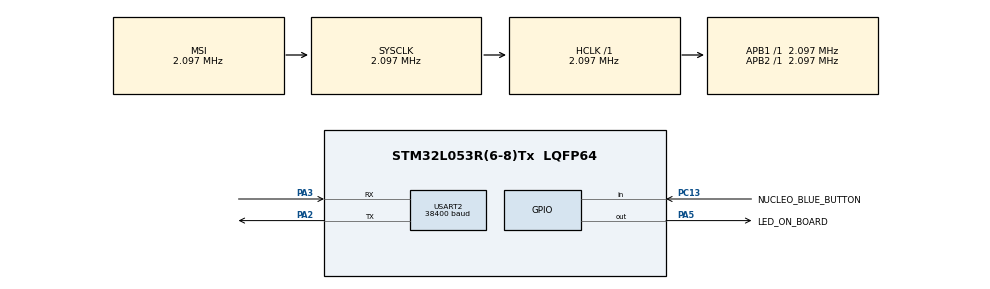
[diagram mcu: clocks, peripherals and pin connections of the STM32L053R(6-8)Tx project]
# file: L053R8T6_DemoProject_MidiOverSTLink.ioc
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Dma.Request0=USART2_RX
Dma.Request1=USART2_TX
Dma.USART2_RX.0.Direction=DMA_PERIPH_TO_MEMORY
Dma.USART2_RX.0.Instance=DMA1_Channel5
Dma.USART2_RX.0.MemDataAlignment=DMA_MDATAALIGN_BYTE
Dma.USART2_RX.0.MemInc=DMA_MINC_ENABLE
Dma.USART2_RX.0.Mode=DMA_NORMAL
Dma.USART2_RX.0.PeriphDataAlignment=DMA_PDATAALIGN_BYTE
Dma.USART2_RX.0.PeriphInc=DMA_PINC_DISABLE
Dma.USART2_RX.0.Priority=DMA_PRIORITY_LOW
Dma.USART2_TX.1.Direction=DMA_MEMORY_TO_PERIPH
Dma.USART2_TX.1.Instance=DMA1_Channel4
Dma.USART2_TX.1.MemDataAlignment=DMA_MDATAALIGN_BYTE
Dma.USART2_TX.1.MemInc=DMA_MINC_ENABLE
Dma.USART2_TX.1.Mode=DMA_NORMAL
Dma.USART2_TX.1.PeriphDataAlignment=DMA_PDATAALIGN_BYTE
Dma.USART2_TX.1.PeriphInc=DMA_PINC_DISABLE
Dma.USART2_TX.1.Priority=DMA_PRIORITY_LOW
Mcu.Family=STM32L0
Mcu.Name=STM32L053R(6-8)Tx
Mcu.Package=LQFP64
NVIC.DMA1_Channel4_5_6_7_IRQn=true\:0\:0\:false\:false\:true\:false\:true\:true
NVIC.USART2_IRQn=true\:0\:0\:false\:false\:true\:true\:true\:true
PA13.Mode=Serial_Wire
PA13.Signal=SYS_SWDIO
PA14.Mode=Serial_Wire
PA14.Signal=SYS_SWCLK
PA2.Mode=Asynchronous
PA2.Signal=USART2_TX
PA3.Mode=Asynchronous
PA3.Signal=USART2_RX
PA5.GPIO_Label=LED_ON_BOARD
PA5.Signal=GPIO_Output
PC13.GPIO_Label=NUCLEO_BLUE_BUTTON
PC13.Signal=GPIO_Input
PH0-OSC_IN.Mode=HSE-External-Oscillator
PH0-OSC_IN.Signal=RCC_OSC_IN
PH1-OSC_OUT.Mode=HSE-External-Oscillator
PH1-OSC_OUT.Signal=RCC_OSC_OUT
ProjectManager.HeapSize=0x200
ProjectManager.StackSize=0x400
ProjectManager.TargetToolchain=STM32CubeIDE
RCC.AHBFreq_Value=2097000
RCC.APB1Freq_Value=2097000
RCC.APB1TimFreq_Value=2097000
RCC.APB2Freq_Value=2097000
RCC.APB2TimFreq_Value=2097000
RCC.HSE_VALUE=8000000
RCC.HSI16_VALUE=16000000
RCC.HSI48_VALUE=48000000
RCC.HSI_VALUE=16000000
RCC.LSE_VALUE=32768
RCC.MSI_VALUE=2097000
RCC.SYSCLKFreq_VALUE=2097000
RCC.VCOOutputFreq_Value=48000000
USART2.BaudRate=38400
USART2.VirtualMode-Asynchronous=VM_ASYNC
board=custom

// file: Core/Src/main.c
/* USER CODE BEGIN Header */
/**
  ******************************************************************************
  * @file           : main.c
  * @brief          : Main program body
  ******************************************************************************
  * @attention
  *
  * Copyright (c) 2024 STMicroelectronics.
  * All rights reserved.
  *
  * This software is licensed under terms that can be found in the LICENSE file
  * in the root directory of this software component.
  * If no LICENSE file comes with this software, it is provided AS-IS.
  *
  ******************************************************************************
  */
/* USER CODE END Header */
#include "main.h"
#include "dma.h"
#include "usart.h"
#include "gpio.h"

/* USER CODE BEGIN Includes */
#include "MIDI_UART.h"
#include <string.h>
/* USER CODE END Includes */

/* USER CODE BEGIN PV */

/* structures to handle HUI-Commands */
typedef struct
{
  uint8_t Zone;
  uint8_t PortOn;
  uint8_t PortOff;
}HUI_Rx_Td;

typedef struct
{
  uint8_t Zone;
  uint8_t Port;
  bool ToggleOn;
  bool ToggleOff;
}HUI_solo_td;

/* Instances of the previous declared structures */
HUI_Rx_Td HUIRx = {
    .Zone = 0xFF,
    .PortOn = 0xFF,
    .PortOff = 0xFF,
};

HUI_solo_td SoloCh1 = {
    .Zone = 0x00,
    .Port = 0x03,
    .ToggleOn = false,
    .ToggleOff = false,
};

/* used MIDI instance */
MIDI_structTd MIDIPort1;

/* used to read nucleo user button */
GPIO_PinState PrevButtonState = GPIO_PIN_SET;

/* USER CODE END PV */

void SystemClock_Config(void);
/* USER CODE BEGIN PFP */
void HUI_send_SwitchCommandOn(MIDI_structTd* MIDIPort, uint8_t Zone, uint8_t Port);
void HUI_send_SwitchCommandOff(MIDI_structTd* MIDIPort, uint8_t Zone, uint8_t Port);
/* USER CODE END PFP */

int main(void)
{

  /* MCU Configuration--------------------------------------------------------*/

  /* Reset of all peripherals, Initializes the Flash interface and the Systick. */
  HAL_Init();

  /* Configure the system clock */
  SystemClock_Config();

  /* Initialize all configured peripherals */
  MX_GPIO_Init();
  MX_DMA_Init();
  MX_USART2_UART_Init();
  /* USER CODE BEGIN 2 */
  MIDI_init_UART(&MIDIPort1, &huart2);
  MIDI_init_DMARxHandle(&MIDIPort1, &hdma_usart2_rx);
  MIDI_start_Transmission(&MIDIPort1);
  /* USER CODE END 2 */

  /* Infinite loop */
  /* USER CODE BEGIN WHILE */
  while (1)
  {
    MIDI_update_Transmission(&MIDIPort1);

    GPIO_PinState ButtonState = HAL_GPIO_ReadPin(GPIOC, GPIO_PIN_13);
    if(ButtonState == GPIO_PIN_RESET)
    {
      if(ButtonState != PrevButtonState)
      {
        PrevButtonState = GPIO_PIN_RESET;
        HUI_send_SwitchCommandOn(&MIDIPort1, SoloCh1.Zone, SoloCh1.Port);
      }
    }
    else
    {
      if(ButtonState != PrevButtonState)
      {
        PrevButtonState = GPIO_PIN_SET;
        HUI_send_SwitchCommandOff(&MIDIPort1, SoloCh1.Zone, SoloCh1.Port);
      }
    }

    if(SoloCh1.ToggleOn == true)
    {
      HAL_GPIO_WritePin(LED_ON_BOARD_GPIO_Port, LED_ON_BOARD_Pin, GPIO_PIN_SET);
      SoloCh1.ToggleOn = false;
    }

    if(SoloCh1.ToggleOff == true)
    {
      HAL_GPIO_WritePin(LED_ON_BOARD_GPIO_Port, LED_ON_BOARD_Pin, GPIO_PIN_RESET);
      SoloCh1.ToggleOff = false;
    }
    /* USER CODE END WHILE */

  }
}

void SystemClock_Config(void)
{
  RCC_OscInitTypeDef RCC_OscInitStruct = {0};
  RCC_ClkInitTypeDef RCC_ClkInitStruct = {0};
  RCC_PeriphCLKInitTypeDef PeriphClkInit = {0};

  /** Configure the main internal regulator output voltage
  */
  __HAL_PWR_VOLTAGESCALING_CONFIG(PWR_REGULATOR_VOLTAGE_SCALE1);

  /** Initializes the RCC Oscillators according to the specified parameters
  * in the RCC_OscInitTypeDef structure.
  */
  RCC_OscInitStruct.OscillatorType = RCC_OSCILLATORTYPE_MSI;
  RCC_OscInitStruct.MSIState = RCC_MSI_ON;
  RCC_OscInitStruct.MSICalibrationValue = 0;
  RCC_OscInitStruct.MSIClockRange = RCC_MSIRANGE_5;
  RCC_OscInitStruct.PLL.PLLState = RCC_PLL_NONE;
  if (HAL_RCC_OscConfig(&RCC_OscInitStruct) != HAL_OK)
  {
    Error_Handler();
  }

  /** Initializes the CPU, AHB and APB buses clocks
  */
  RCC_ClkInitStruct.ClockType = RCC_CLOCKTYPE_HCLK|RCC_CLOCKTYPE_SYSCLK
                              |RCC_CLOCKTYPE_PCLK1|RCC_CLOCKTYPE_PCLK2;
  RCC_ClkInitStruct.SYSCLKSource = RCC_SYSCLKSOURCE_MSI;
  RCC_ClkInitStruct.AHBCLKDivider = RCC_SYSCLK_DIV1;
  RCC_ClkInitStruct.APB1CLKDivider = RCC_HCLK_DIV1;
  RCC_ClkInitStruct.APB2CLKDivider = RCC_HCLK_DIV1;

  if (HAL_RCC_ClockConfig(&RCC_ClkInitStruct, FLASH_LATENCY_0) != HAL_OK)
  {
    Error_Handler();
  }
  PeriphClkInit.PeriphClockSelection = RCC_PERIPHCLK_USART2;
  PeriphClkInit.Usart2ClockSelection = RCC_USART2CLKSOURCE_PCLK1;
  if (HAL_RCCEx_PeriphCLKConfig(&PeriphClkInit) != HAL_OK)
  {
    Error_Handler();
  }
}

/* USER CODE BEGIN 4 */
void HUI_send_SwitchCommandOn(MIDI_structTd* MIDIPort, uint8_t Zone, uint8_t Port)
{
  uint8_t Channel = 0x00;
  uint8_t ZoneSelect = 0x0F;
  uint8_t PortSelect = 0x2F;
  uint8_t PortOffset = 0x40;
  uint8_t PortValue = Port + PortOffset;

  MIDI_queue_ControlChange(&MIDIPort1, Channel, ZoneSelect, Zone);
  MIDI_queue_ControlChange(&MIDIPort1, Channel, PortSelect, PortValue);
}

void HUI_send_SwitchCommandOff(MIDI_structTd* MIDIPort, uint8_t Zone, uint8_t Port)
{
  uint8_t Channel = 0x00;
  uint8_t ZoneSelect = 0x0F;
  uint8_t PortSelect = 0x2F;

  MIDI_queue_ControlChange(&MIDIPort1, Channel, ZoneSelect, Zone);
  MIDI_queue_ControlChange(&MIDIPort1, Channel, PortSelect, Port);
}

void MIDI_callback_NoteOn(MIDI_structTd* MIDIPort, uint8_t Channel, uint8_t Note, uint8_t Velocity)
{
  if(MIDIPort == &MIDIPort1 && Channel == 0x00 && Note == 0x00 && Velocity == 0x00)
  {
    /* Answer Ping */
    uint8_t PingChannel = 0x00;
    uint8_t PingByte1  = 0x00;
    uint8_t PingByte2 = 0x7F;
    MIDI_queue_NoteOn(&MIDIPort1, PingChannel, PingByte1, PingByte2);
  }
}

void MIDI_callback_ControlChange(MIDI_structTd* MIDIPort, uint8_t Channel, uint8_t Number, uint8_t Value)
{
  if(MIDIPort == &MIDIPort1)
  {
    const uint8_t HUI_Channel = 0x00;
    const uint8_t HUI_ZoneSelect = 0x0C;
    const uint8_t HUI_PortSelect = 0x2C;
    const uint8_t HUI_Port_ValueMsk = 0x40;
    const uint8_t HUI_Port_NumberMsk = 0xF0;
    const uint8_t HUI_ResetValue = 0xFF;

    if(Channel == HUI_Channel)
    {
      /* Get HUI-Zone*/
      if(Number == HUI_ZoneSelect)
      {
        HUIRx.Zone = Value;
      }
      /* Get HUI-Port */
      if(Number == HUI_PortSelect)
      {
        if((Value & HUI_Port_ValueMsk) == HUI_Port_ValueMsk)
        {
          /* Extract port number from byte 0x4n */
          HUIRx.PortOn = Value & ~HUI_Port_NumberMsk;
        }
        else
        {
          /* Extract port number from byte 0x0n */
          HUIRx.PortOff = Value & ~HUI_Port_NumberMsk;
        }
      }

      /* set Solo Flag */
      if(HUIRx.Zone == SoloCh1.Zone)
      {
        if(HUIRx.PortOn == SoloCh1.Port)
        {
          SoloCh1.ToggleOn = true;
          HUIRx.Zone = HUI_ResetValue;
          HUIRx.PortOn = HUI_ResetValue;
        }
        if(HUIRx.PortOff == SoloCh1.Port)
        {
          SoloCh1.ToggleOff = true;
          HUIRx.Zone = HUI_ResetValue;
          HUIRx.PortOff = HUI_ResetValue;
        }
      }
    }
  }
}

void HAL_UARTEx_RxEventCallback(UART_HandleTypeDef *huart, uint16_t Size)
{
  MIDI_manage_RxInterrupt(&MIDIPort1, huart, Size);
}

void HAL_UART_TxCpltCallback(UART_HandleTypeDef *huart)
{
  MIDI_manage_TxInterrupt(&MIDIPort1, huart);
}

/* USER CODE END 4 */

void Error_Handler(void)
{
  __disable_irq();
  while (1)
  {
  }
}
